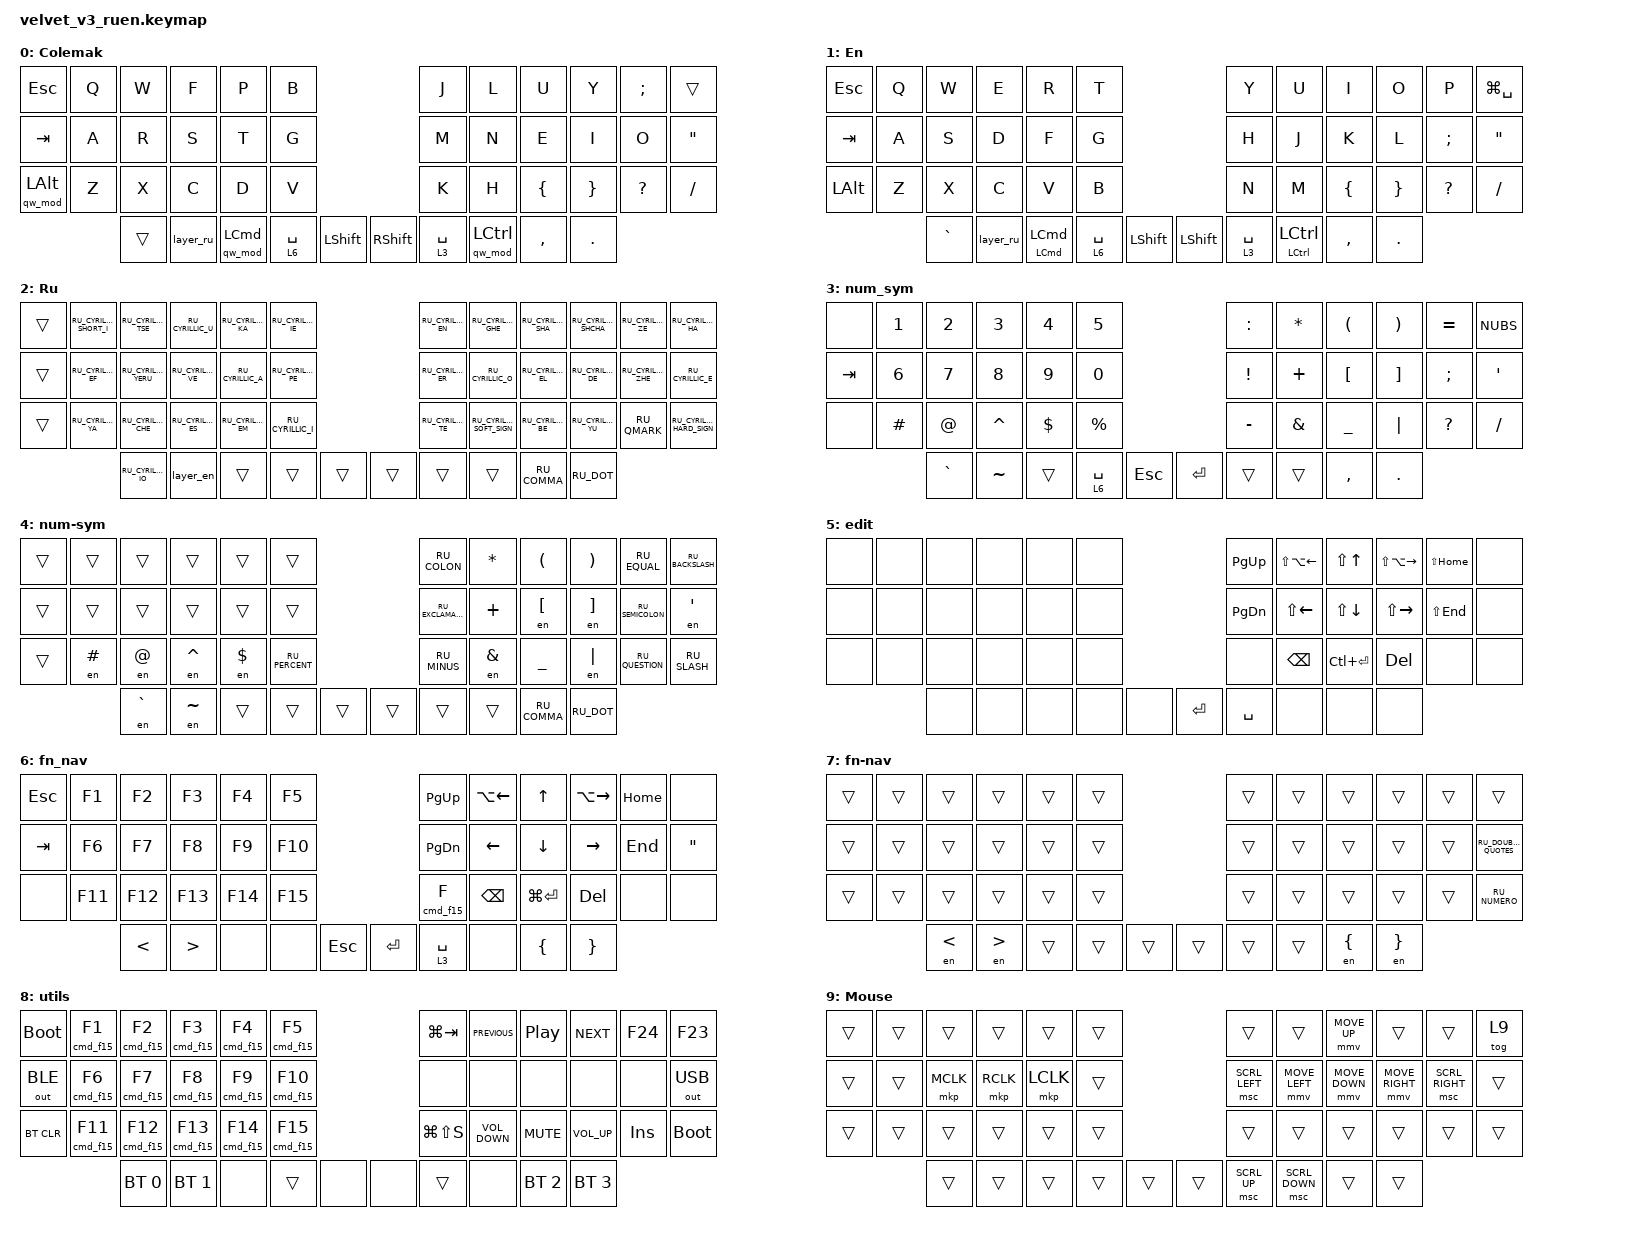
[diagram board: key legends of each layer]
#include "keys_ru.h"
#include <behaviors.dtsi>
#include <dt-bindings/zmk/bt.h>
#include <dt-bindings/zmk/keys.h>
#include <dt-bindings/zmk/outputs.h>
#include <dt-bindings/zmk/pointing.h>

/ {
    combos {
        compatible = "zmk,combos";

        ctrl+shift+down {
            bindings = <&kp LA(LG(DOWN))>;
            key-positions = <32 33>;
            layers = <0 1 2 6 7>;
        };

        shift+alt+up {
            bindings = <&kp LA(UP)>;
            key-positions = <7 8>;
            layers = <6 7>;
        };

        shift+alt+down {
            bindings = <&kp LA(DOWN)>;
            key-positions = <31 32>;
            layers = <6 7>;
        };

        ctrl+page_up {
            bindings = <&kp LG(LA(LEFT_ARROW))>;
            key-positions = <19 8>;
            layers = <6 7>;
        };

        ctrl+page_down {
            bindings = <&kp LG(LA(RIGHT_ARROW))>;
            key-positions = <21 8>;
            layers = <6 7>;
        };

        ctrl+shift+up {
            bindings = <&kp LG(LA(UP))>;
            key-positions = <8 9>;
            layers = <0 1 2 6 7>;
        };

        shift_layer {
            bindings = <&lt 5 A>;
            key-positions = <40 41>;
        };

        left_desktop {
            bindings = <&kp LC(LEFT_ARROW)>;
            key-positions = <3 14>;
        };

        right_desktop {
            bindings = <&kp LC(RIGHT_ARROW)>;
            key-positions = <3 16>;
        };

        up_desktop {
            bindings = <&kp LC(UP)>;
            key-positions = <4 3>;
        };

        down_desktop {
            bindings = <&kp LC(DOWN)>;
            key-positions = <27 28>;
        };

        to_mouse_movement {
            bindings = <&tog 9>;
            key-positions = <44 45>;
        };

        colemak_qwerty {
            bindings = <&tog 1>;
            key-positions = <36 37>;
        };
    };

    macros {
        layer_en: layer_en {
            compatible = "zmk,behavior-macro";
            #binding-cells = <0>;
            bindings = <&kp RIGHT_COMMAND &off 2>;
            label = "LAYER_EN";
            wait-ms = <0>;
            tap-ms = <50>;
        };

        cmd: cmd {
            compatible = "zmk,behavior-macro-two-param";
            #binding-cells = <2>;
            bindings =
                <&macro_press>,
                <&kp LEFT_CONTROL>,
                <&macro_tap>,
                <&macro_param_1to1 &kp MACRO_PLACEHOLDER>,
                <&macro_tap>,
                <&macro_param_2to1 &kp MACRO_PLACEHOLDER>,
                <&macro_release>,
                <&kp LEFT_CONTROL>;

            label = "CMD";
            tap-ms = <30>;
            wait-ms = <0>;
        };

        cmd_f15: cmd_f15 {
            compatible = "zmk,behavior-macro-one-param";
            #binding-cells = <1>;
            bindings =
                <&macro_press>,
                <&kp LEFT_CONTROL>,
                <&macro_tap>,
                <&kp F15>,
                <&macro_tap>,
                <&macro_param_1to1 &kp MACRO_PLACEHOLDER>,
                <&macro_release>,
                <&kp LEFT_CONTROL>;

            label = "CMD_F15";
            tap-ms = <30>;
            wait-ms = <0>;
        };

        layer_ru: layer_ru {
            compatible = "zmk,behavior-macro";
            #binding-cells = <0>;
            bindings = <&kp RIGHT_ALT &on 2>;
            label = "LAYER_RU";
            wait-ms = <0>;
            tap-ms = <50>;
        };

        en: en {
            compatible = "zmk,behavior-macro-one-param";
            #binding-cells = <1>;
            bindings =
                <&macro_tap>,
                <&kp LS(LC(N1))>,
                <&macro_press>,
                <&macro_param_1to1 &kp MACRO_PLACEHOLDER>,
                <&macro_pause_for_release>,
                <&macro_release>,
                <&macro_param_1to1 &kp MACRO_PLACEHOLDER>,
                <&macro_tap_time 30>,
                <&macro_tap>,
                <&kp LS(LC(N2))>;

            label = "EN";
        };

        key: key {
            compatible = "zmk,behavior-macro-one-param";
            #binding-cells = <1>;
            bindings = <&macro_tap>, <&macro_param_1to1 &kp MACRO_PLACEHOLDER>;

            label = "KEY";
        };

        multi_line_sel_up: mls {
            compatible = "zmk,behavior-macro";
            #binding-cells = <0>;
            bindings = <&kp LA(LG(UP))>;
            label = "MLS";
        };

        // Hold: modifier + momentary QWERTY, so shortcuts keep QWERTY positions on Colemak
        qw_mod: qw_mod {
            compatible = "zmk,behavior-macro-one-param";
            #binding-cells = <1>;
            bindings =
                <&macro_press>,
                <&mo 1>,
                <&macro_param_1to1>,
                <&kp MACRO_PLACEHOLDER>,
                <&macro_pause_for_release>,
                <&macro_param_1to1>,
                <&macro_release>,
                <&kp MACRO_PLACEHOLDER>,
                <&mo 1>;

            label = "QW_MOD";
            wait-ms = <0>;
            tap-ms = <0>;
        };

        multi_line_sel_down: multi_line_sel_down {
            compatible = "zmk,behavior-macro";
            #binding-cells = <0>;
            bindings = <&kp LA(LG(DOWN))>;
            label = "MULTI_LINE_SEL_DOWN";
        };
    };

    behaviors {
        on: on {
            compatible = "zmk,behavior-toggle-layer";
            label = "ON";
            #binding-cells = <1>;
            toggle-mode = "on";
        };

        off: off {
            compatible = "zmk,behavior-toggle-layer";
            label = "OFF";
            #binding-cells = <1>;
            toggle-mode = "off";
        };

        ltk: ltk {
            compatible = "zmk,behavior-hold-tap";
            label = "LTK";
            bindings = <&mo>, <&key>;

            #binding-cells = <2>;
            tapping-term-ms = <235>;
            // Resolve layer holds on the next key press, even after a recent space tap.
            quick-tap-ms = <0>;
            flavor = "hold-preferred";
        };

        kp_sk: kp_sk {
            compatible = "zmk,behavior-hold-tap";
            label = "KP_SK";
            bindings = <&kp>, <&sk>;

            #binding-cells = <2>;
            tapping-term-ms = <235>;
            hold-while-undecided;
        };
    };

    keymap {
        compatible = "zmk,keymap";

        Colemak {
            bindings = <
&kp ESC       &kp Q  &kp W   &kp F      &kp P             &kp B                                            &kp J         &kp L             &kp U           &kp Y            &kp SEMI   &trans
&kp TAB       &kp A  &kp R   &kp S      &kp T             &kp G                                            &kp M         &kp N             &kp E           &kp I            &kp O      &kp DQT
&qw_mod LEFT_ALT  &kp Z  &kp X   &kp C      &kp D             &kp V                                            &kp K         &kp H             &kp LEFT_BRACE  &kp RIGHT_BRACE  &kp QMARK  &kp FSLH
                     &trans  &layer_ru  &qw_mod LEFT_COMMAND  &ltk 6 SPACE  &kp LEFT_SHIFT    &kp RIGHT_SHIFT  &ltk 3 SPACE  &qw_mod LEFT_CONTROL  &kp COMMA       &kp DOT
            >;
        };

        en {
            display-name = "En";
            bindings = <
&kp ESC       &kp Q  &kp W      &kp E      &kp R                             &kp T                                           &kp Y         &kp U                             &kp I           &kp O            &kp P      &kp LG(SPACE)
&kp TAB       &kp A  &kp S      &kp D      &kp F                             &kp G                                           &kp H         &kp J                             &kp K           &kp L            &kp SEMI   &kp DQT
&kp LEFT_ALT  &kp Z  &kp X      &kp C      &kp V                             &kp B                                           &kp N         &kp M                             &kp LEFT_BRACE  &kp RIGHT_BRACE  &kp QMARK  &kp SLASH
                     &kp GRAVE  &layer_ru  &kp_sk LEFT_COMMAND LEFT_COMMAND  &ltk 6 SPACE  &kp LEFT_SHIFT    &kp LEFT_SHIFT  &ltk 3 SPACE  &kp_sk LEFT_CONTROL LEFT_CONTROL  &kp COMMA       &kp DOT
            >;
        };

        ru {
            display-name = "Ru";
            bindings = <
&trans  &kp RU_CYRILLIC_SHORT_I  &kp RU_CYRILLIC_TSE   &kp RU_CYRILLIC_U   &kp RU_CYRILLIC_KA  &kp RU_CYRILLIC_IE                    &kp RU_CYRILLIC_EN  &kp RU_CYRILLIC_GHE        &kp RU_CYRILLIC_SHA  &kp RU_CYRILLIC_SHCHA  &kp RU_CYRILLIC_ZE   &kp RU_CYRILLIC_HA
&trans  &kp RU_CYRILLIC_EF       &kp RU_CYRILLIC_YERU  &kp RU_CYRILLIC_VE  &kp RU_CYRILLIC_A   &kp RU_CYRILLIC_PE                    &kp RU_CYRILLIC_ER  &kp RU_CYRILLIC_O          &kp RU_CYRILLIC_EL   &kp RU_CYRILLIC_DE     &kp RU_CYRILLIC_ZHE  &kp RU_CYRILLIC_E
&trans  &kp RU_CYRILLIC_YA       &kp RU_CYRILLIC_CHE   &kp RU_CYRILLIC_ES  &kp RU_CYRILLIC_EM  &kp RU_CYRILLIC_I                     &kp RU_CYRILLIC_TE  &kp RU_CYRILLIC_SOFT_SIGN  &kp RU_CYRILLIC_BE   &kp RU_CYRILLIC_YU     &kp RU_QMARK         &kp RU_CYRILLIC_HARD_SIGN
                                 &kp RU_CYRILLIC_IO    &layer_en           &trans              &trans              &trans    &trans  &trans              &trans                     &kp RU_COMMA         &kp RU_DOT
            >;
        };

        num-sym-en {
            display-name = "num_sym";
            bindings = <
&none    &kp N1    &kp N2     &kp N3     &kp N4      &kp N5                              &kp COLON        &kp ASTERISK   &kp LPAR          &kp RPAR           &kp EQUAL      &kp NUBS
&kp TAB  &kp N6    &kp N7     &kp N8     &kp N9      &kp N0                              &kp EXCLAMATION  &kp PLUS       &kp LEFT_BRACKET  &kp RIGHT_BRACKET  &kp SEMICOLON  &kp APOSTROPHE
&none    &kp HASH  &kp AT     &kp CARET  &kp DOLLAR  &kp PERCENT                         &kp MINUS        &kp AMPERSAND  &kp UNDERSCORE    &kp PIPE           &kp QUESTION   &kp FSLH
                   &kp GRAVE  &kp TILDE  &trans      &ltk 6 SPACE  &kp ESC    &kp ENTER  &trans           &trans         &kp COMMA         &kp DOT
            >;
        };

        num-sym-ru {
            display-name = "num-sym";
            bindings = <
&trans  &trans    &trans     &trans     &trans      &trans                            &kp RU_COLON        &kp ASTERISK   &kp LPAR          &kp RPAR           &kp RU_EQUAL      &kp RU_BACKSLASH
&trans  &trans    &trans     &trans     &trans      &trans                            &kp RU_EXCLAMATION  &kp PLUS       &en LEFT_BRACKET  &en RIGHT_BRACKET  &kp RU_SEMICOLON  &en APOSTROPHE
&trans  &en HASH  &en AT     &en CARET  &en DOLLAR  &kp RU_PERCENT                    &kp RU_MINUS        &en AMPERSAND  &kp UNDERSCORE    &en PIPE           &kp RU_QUESTION   &kp RU_SLASH
                  &en GRAVE  &en TILDE  &trans      &trans          &trans    &trans  &trans              &trans         &kp RU_COMMA      &kp RU_DOT
            >;
        };

        edit {
            display-name = "edit";
            bindings = <
&none  &none  &none  &none  &none  &none                      &kp PAGE_UP    &kp LS(LA(LEFT))  &kp LS(UP)     &kp LS(LA(RIGHT))  &kp LS(HOME)  &none
&none  &none  &none  &none  &none  &none                      &kp PAGE_DOWN  &kp LS(LEFT)      &kp LS(DOWN)   &kp LS(RIGHT)      &kp LS(END)   &none
&none  &none  &none  &none  &none  &none                      &none          &kp BACKSPACE     &kp LC(ENTER)  &kp DELETE         &none         &none
              &none  &none  &none  &none  &none    &kp ENTER  &kp SPACE      &none             &none          &none
            >;
        };

        fn-nav-en {
            display-name = "fn_nav";
            bindings = <
&kp ESC  &kp F1   &kp F2   &kp F3   &kp F4   &kp F5                         &kp PAGE_UP    &kp LA(LEFT)   &kp UP          &kp LA(RIGHT)    &kp HOME  &none
&kp TAB  &kp F6   &kp F7   &kp F8   &kp F9   &kp F10                        &kp PAGE_DOWN  &kp LEFT       &kp DOWN        &kp RIGHT        &kp END   &kp DOUBLE_QUOTES
&none    &kp F11  &kp F12  &kp F13  &kp F14  &kp F15                        &cmd_f15 F     &kp BACKSPACE  &kp LG(ENTER)   &kp DELETE       &none     &none
                  &kp LT   &kp GT   &none    &none    &kp ESC    &kp ENTER  &ltk 3 SPACE   &none          &kp LEFT_BRACE  &kp RIGHT_BRACE
            >;
        };

        fn-nav-ru {
            display-name = "fn-nav";
            bindings = <
&trans  &trans  &trans  &trans  &trans  &trans                    &trans  &trans  &trans          &trans           &trans  &trans
&trans  &trans  &trans  &trans  &trans  &trans                    &trans  &trans  &trans          &trans           &trans  &kp RU_DOUBLE_QUOTES
&trans  &trans  &trans  &trans  &trans  &trans                    &trans  &trans  &trans          &trans           &trans  &kp RU_NUMERO
                &en LT  &en GT  &trans  &trans  &trans    &trans  &trans  &trans  &en LEFT_BRACE  &en RIGHT_BRACE
            >;
        };

        utils {
            display-name = "utils";
            bindings = <
&bootloader   &cmd_f15 F1   &cmd_f15 F2   &cmd_f15 F3   &cmd_f15 F4   &cmd_f15 F5                   &kp LG(TAB)    &kp C_PREVIOUS     &kp C_PLAY_PAUSE  &kp C_NEXT       &kp F24     &kp F23
&out OUT_BLE  &cmd_f15 F6   &cmd_f15 F7   &cmd_f15 F8   &cmd_f15 F9   &cmd_f15 F10                  &none          &none              &none             &none            &none       &out OUT_USB
&bt BT_CLR    &cmd_f15 F11  &cmd_f15 F12  &cmd_f15 F13  &cmd_f15 F14  &cmd_f15 F15                  &kp LG(LS(S))  &kp C_VOLUME_DOWN  &kp C_MUTE        &kp C_VOLUME_UP  &kp INSERT  &bootloader
                            &bt BT_SEL 0  &bt BT_SEL 1  &none         &trans        &none    &none  &trans         &none              &bt BT_SEL 2      &bt BT_SEL 3
            >;
        };

        Mouse {
            bindings = <
&trans  &trans  &trans  &trans  &trans  &trans                    &trans          &trans          &mmv MOVE_UP    &trans           &trans           &tog 9
&trans  &trans  &mkp MCLK  &mkp RCLK  &mkp LCLK  &trans        &msc SCRL_LEFT  &mmv MOVE_LEFT  &mmv MOVE_DOWN  &mmv MOVE_RIGHT  &msc SCRL_RIGHT  &trans
&trans  &trans  &trans  &trans  &trans  &trans                    &trans          &trans          &trans          &trans           &trans           &trans
                &trans  &trans  &trans  &trans  &trans    &trans  &msc SCRL_UP    &msc SCRL_DOWN  &trans          &trans
            >;
        };
    };

    conditional_layers {
        compatible = "zmk,conditional-layers";

        symru {
            if-layers = <3 2>;
            then-layer = <4>;
        };

        fnnavru {
            if-layers = <6 2>;
            then-layer = <7>;
        };

        utils {
            if-layers = <3 6>;
            then-layer = <8>;
        };
    };
};
